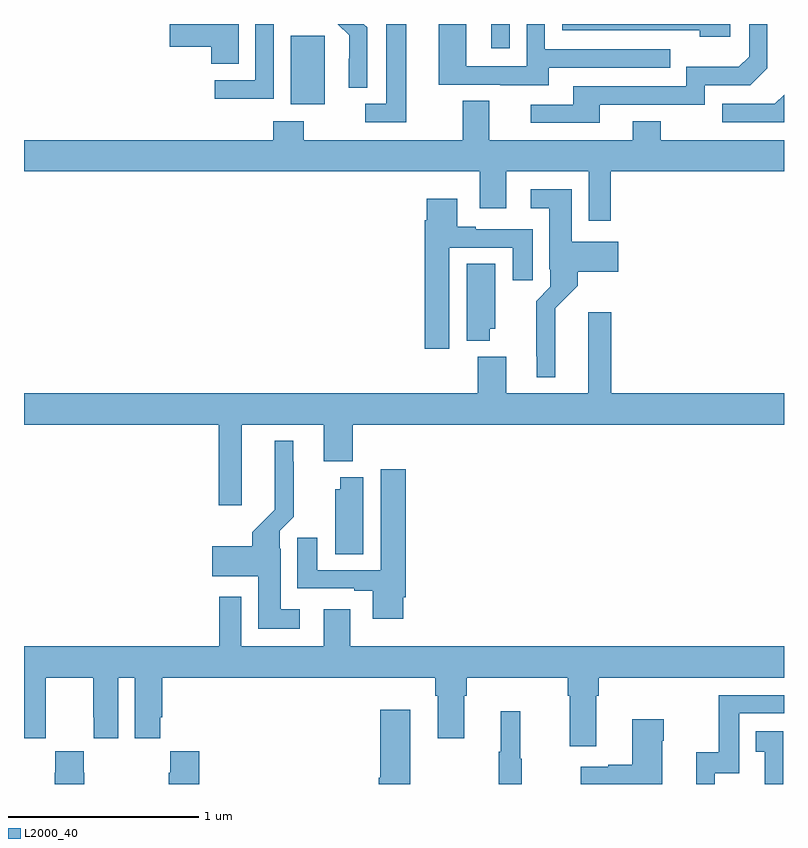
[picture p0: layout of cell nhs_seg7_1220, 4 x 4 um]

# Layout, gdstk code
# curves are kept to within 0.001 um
import gdstk
lib = gdstk.Library(unit=1e-6, precision=1e-09)
def R(c, l, rs):  # rectangles x0, y0, x1, y1
    for r in rs: c.add(gdstk.rectangle(r[:2], r[2:], *l))
def P(c, l, *ps):  # polygons
    for p in ps: c.add(gdstk.Polygon(p, *l))
L2000_40 = (2000, 40)

nhs_seg7_1220 = lib.new_cell('nhs_seg7_1220')
R(nhs_seg7_1220, L2000_40, [(196.403,1059.578,196.582,1059.939), (197.459,1059.873,197.556,1060)])
P(nhs_seg7_1220, L2000_40, [(198.031,1059.576),(198.582,1059.576),(198.582,1059.678),(198.822,1059.678),(198.912,1059.768),(198.912,1060),(198.816,1060),(198.816,1059.828),(198.763,1059.775),(198.486,1059.775),(198.486,1059.672),(197.891,1059.672),(197.891,1059.576),(197.667,1059.576),(197.667,1059.48),(198.031,1059.48)],
  [(198.718,1060),(197.832,1060),(197.832,1059.966),(198.557,1059.966),(198.557,1059.932),(198.718,1059.932)],
  [(196.806,1059.982),(196.788,1060),(196.652,1060),(196.712,1059.941),(196.712,1059.818),(196.71,1059.818),(196.71,1059.664),(196.806,1059.664)],
  [(196.314,1060),(196.218,1060),(196.218,1059.705),(196.005,1059.705),(196.005,1059.607),(196.314,1059.607)],
  [(197.011,1060),(196.907,1060),(196.907,1059.579),(196.797,1059.579),(196.797,1059.483),(197.011,1059.483)],
  [(197.761,1059.771),(198.401,1059.771),(198.401,1059.867),(197.742,1059.867),(197.742,1060),(197.646,1060),(197.646,1059.777),(197.328,1059.777),(197.328,1060),(197.183,1060),(197.183,1059.681),(197.507,1059.681),(197.507,1059.677),(197.761,1059.677)],
  [(196.129,1060),(195.768,1060),(195.768,1059.881),(195.986,1059.881),(195.986,1059.79),(196.129,1059.79)],
  [(199,1059.628),(198.951,1059.579),(198.675,1059.579),(198.675,1059.483),(199,1059.483)],
  [(198.089,1059.224),(199,1059.224),(199,1059.388),(198.351,1059.388),(198.351,1059.487),(198.203,1059.487),(198.203,1059.388),(197.449,1059.388),(197.449,1059.596),(197.309,1059.596),(197.309,1059.388),(196.473,1059.388),(196.473,1059.487),(196.313,1059.487),(196.313,1059.388),(195,1059.388),(195,1059.224),(197.399,1059.224),(197.399,1059.03),(197.539,1059.03),(197.539,1059.224),(197.973,1059.224),(197.973,1058.964),(198.089,1058.964)],
  [(197.797,1058.504),(197.915,1058.622),(197.915,1058.696),(198.127,1058.696),(198.127,1058.854),(197.884,1058.854),(197.884,1059.13),(197.667,1059.13),(197.667,1059.029),(197.765,1059.029),(197.765,1058.71),(197.769,1058.71),(197.769,1058.616),(197.695,1058.542),(197.695,1058.251),(197.699,1058.251),(197.699,1058.141),(197.797,1058.141)],
  [(197.239,1058.823),(197.573,1058.823),(197.573,1058.652),(197.677,1058.652),(197.677,1058.919),(197.377,1058.919),(197.377,1058.932),(197.281,1058.932),(197.281,1059.079),(197.12,1059.079),(197.12,1058.966),(197.108,1058.966),(197.108,1058.292),(197.239,1058.292)],
  [(197.452,1058.397),(197.479,1058.397),(197.479,1058.738),(197.33,1058.738),(197.33,1058.333),(197.452,1058.333)],
  [(196.147,1057.892),(196.577,1057.892),(196.577,1057.7),(196.73,1057.7),(196.73,1057.892),(199,1057.892),(199,1058.056),(198.092,1058.056),(198.092,1058.482),(197.969,1058.482),(197.969,1058.056),(197.539,1058.056),(197.539,1058.248),(197.387,1058.248),(197.387,1058.056),(195,1058.056),(195,1057.892),(196.025,1057.892),(196.025,1057.467),(196.147,1057.467)],
  [(196.45,1056.919),(196.351,1056.919),(196.351,1057.238),(196.347,1057.238),(196.347,1057.332),(196.421,1057.406),(196.421,1057.697),(196.417,1057.697),(196.417,1057.807),(196.319,1057.807),(196.32,1057.444),(196.202,1057.326),(196.202,1057.252),(195.99,1057.252),(195.99,1057.094),(196.232,1057.094),(196.232,1056.818),(196.45,1056.818)],
  [(196.996,1056.982),(197.009,1056.982),(197.009,1057.657),(196.877,1057.657),(196.877,1057.125),(196.543,1057.125),(196.543,1057.297),(196.439,1057.297),(196.439,1057.029),(196.739,1057.029),(196.739,1057.017),(196.835,1057.017),(196.835,1056.87),(196.996,1056.87)],
  [(196.786,1057.615),(196.664,1057.615),(196.664,1057.551),(196.637,1057.551),(196.637,1057.21),(196.786,1057.21)],
  [(198.013,1056.464),(198.026,1056.464),(198.026,1056.56),(199,1056.56),(199,1056.724),(196.717,1056.724),(196.717,1056.919),(196.577,1056.919),(196.577,1056.724),(196.143,1056.724),(196.143,1056.985),(196.027,1056.985),(196.027,1056.724),(195,1056.724),(195,1056.24),(195.114,1056.24),(195.114,1056.352),(195.115,1056.352),(195.115,1056.56),(195.365,1056.56),(195.365,1056.352),(195.366,1056.352),(195.366,1056.24),(195.496,1056.24),(195.496,1056.56),(195.584,1056.56),(195.584,1056.24),(195.718,1056.24),(195.718,1056.352),(195.728,1056.352),(195.728,1056.56),(197.165,1056.56),(197.165,1056.464),(197.177,1056.464),(197.177,1056.24),(197.317,1056.24),(197.317,1056.464),(197.33,1056.464),(197.33,1056.56),(197.861,1056.56),(197.861,1056.464),(197.873,1056.464),(197.873,1056.198),(198.013,1056.198)],
  [(198.636,1056.057),(198.765,1056.057),(198.765,1056.372),(199,1056.372),(199,1056.468),(198.657,1056.468),(198.657,1056.166),(198.539,1056.166),(198.539,1056),(198.636,1056)],
  [(197.032,1056.391),(196.874,1056.391),(196.874,1056.033),(196.868,1056.033),(196.868,1056),(197.032,1056)],
  [(197.62,1056.132),(197.612,1056.132),(197.612,1056.382),(197.51,1056.382),(197.51,1056.169),(197.499,1056.169),(197.499,1056),(197.62,1056)],
  [(198.358,1056.227),(198.366,1056.227),(198.366,1056.34),(198.2,1056.34),(198.2,1056.101),(198.074,1056.101),(198.074,1056.091),(197.931,1056.091),(197.931,1056),(198.358,1056)],
  [(198.996,1056.277),(198.85,1056.277),(198.85,1056.171),(198.899,1056.171),(198.899,1056),(198.996,1056)],
  [(195.923,1056.172),(195.769,1056.172),(195.769,1056.059),(195.763,1056.059),(195.763,1056),(195.923,1056)],
  [(195.318,1056.059),(195.315,1056.059),(195.315,1056.172),(195.165,1056.172),(195.165,1056.059),(195.163,1056.059),(195.163,1056),(195.318,1056)])

lib.write_gds('nhs_seg7_1220.gds')
